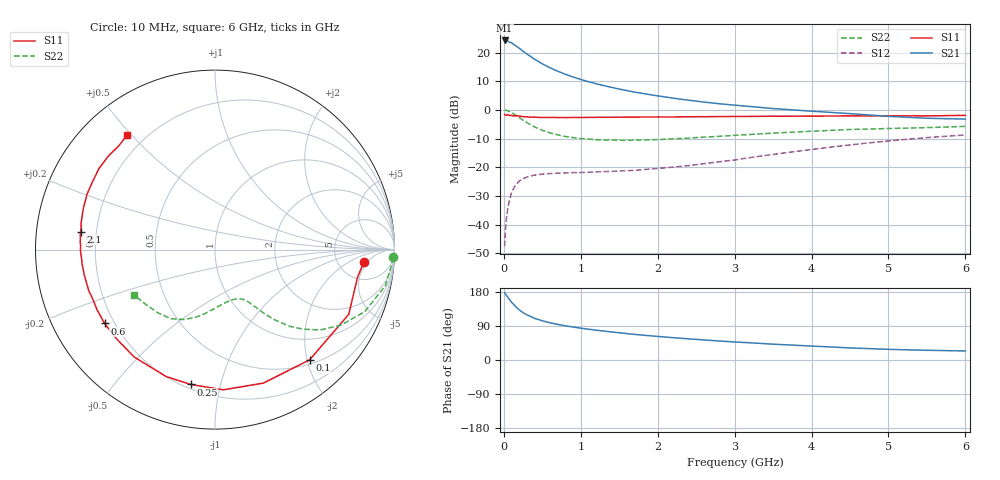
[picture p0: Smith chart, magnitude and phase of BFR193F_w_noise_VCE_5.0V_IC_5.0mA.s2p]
! (c) 2017  Infineon Technologies AG, Munich
! Infineon Technologies  Discrete & RF Semiconductors
! BFR193F
! VCE =  5.0 V,  IC =  5.0 mA
! Common Emitter S-Parameters:  Jan 2017
# GHz  S  MA  R  50
!  f  S11  S21  S12  S22
! GHz  MAG  ANG  MAG  ANG  MAG  ANG  MAG  ANG
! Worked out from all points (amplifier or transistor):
!   77 points, 10 MHz to 6 GHz, reference 50 ohm
!   highest |S21| = 24.2 dB at 10 MHz (marker M1)
!   |S21| within 3 dB of that: start of sweep to 213.8 MHz
!   unconditionally stable (mu >= 1): 1.847 GHz to 3.002 GHz
!   at 130 MHz: K = 0.10, MSG = 25.1 dB, |S12| = -27.3 dB
!   at 2.2 GHz: K = 1.07, MAG = 10.4 dB, |S12| = -19.9 dB
!   at 6 GHz: K = 0.78, MSG = 2.8 dB, |S12| = -8.7 dB
!   lowest NFmin = 0.81 dB at 450 MHz
!   S11 on the Smith chart (normalised r, x): 10 MHz: 9.06, -4.11; 100 MHz: 0.57, -2.04; 250 MHz: 0.23, -0.81; 600 MHz: 0.16, -0.30; 2.1 GHz: 0.14, +0.07; 6 GHz: 0.13, +0.49
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0.01  0.8325 -4.8  16.31 177.7  0.0042 90.0  0.9926 -2.5
0.02  0.809 -10.9  16.06 174.3  0.0077 86.2  0.9876 -4.9
0.05  0.8278 -25.8  15.92 165.9  0.0186 77.6  0.9703 -11.9
0.1  0.8096 -49.4  14.85 152.5  0.036 66.5  0.9031 -22.5
0.15  0.7911 -70.1  13.34 141.4  0.0483 57.0  0.8175 -31.0
0.2  0.7825 -86.6  11.94 132.2  0.0575 49.8  0.7371 -37.4
0.25  0.7634 -100.2  10.56 124.8  0.0631 44.0  0.6609 -42.1
0.3  0.7579 -111.0  9.454 119.0  0.0676 40.3  0.5994 -45.6
0.4  0.749 -127.0  7.661 109.8  0.0731 35.1  0.505 -50.1
0.5  0.7401 -137.9  6.372 103.4  0.076 32.3  0.4415 -52.7
0.6  0.7401 -146.2  5.444 98.1  0.0777 30.7  0.3977 -54.5
0.7  0.7378 -152.9  4.744 93.9  0.079 30.6  0.3676 -56.1
0.8  0.7347 -157.6  4.183 90.2  0.0796 30.4  0.3441 -57.6
0.9  0.7396 -162.1  3.757 87.0  0.0806 31.4  0.3287 -59.0
1.1  0.7417 -168.7  3.111 81.3  0.0819 33.4  0.3102 -62.5
1.5  0.7474 -177.9  2.317 71.8  0.0862 40.1  0.296 -70.4
2.1  0.7547 172.4  1.682 60.6  0.0979 52.8  0.3083 -83.0
2.6  0.7624 166.6  1.374 52.9  0.1154 61.7  0.3353 -92.5
3.1  0.7701 161.0  1.18 46.5  0.1407 68.2  0.3667 -100.4
4.1  0.7813 149.7  0.933 35.8  0.2121 72.8  0.4309 -115.6
5.1  0.7894 137.6  0.761 27.6  0.296 69.3  0.4776 -134.3
6  0.8045 127.5  0.692 23.9  0.366 63.1  0.518 -150.9
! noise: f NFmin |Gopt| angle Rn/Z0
0.45  0.81  0.31  100  0.1
0.9  1.01  0.45  136  0.09
1.9  1.9  0.63  -179  0.06
2.4  2.34  0.67  -168  0.11
